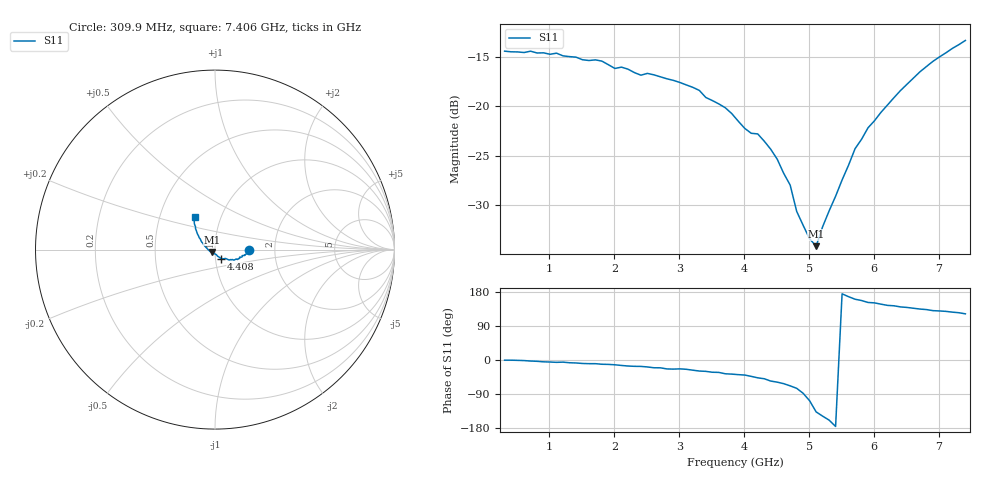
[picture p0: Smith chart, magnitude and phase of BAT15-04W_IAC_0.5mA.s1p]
! Infineon Technologies  Discrete & RF Semiconductors
! BAT15-04W-E6327
! IAC = 0.5 mA
! One-Port S-Parameters
# Hz  S  MA  R  50
!f  S11
!Hz  Mag  Ang
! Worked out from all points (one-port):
!   72 points, 309.9 MHz to 7.406 GHz, reference 50 ohm
!   lowest |S11| = -34.1 dB at 5.107 GHz (marker M1), VSWR 1.04, Z = 48.6 - j1.31 ohm
!   |S11| at or under -10 dB: start of sweep to end of sweep
!   S11 on the Smith chart (normalised r, x): 309.9 MHz: 1.47, -0.00; 4.408 GHz: 1.07, -0.11; 7.406 GHz: 0.75, +0.29
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3.0985e8  0.1893 -0.5
1.10945e9  0.185 -6.2
1.2094e9  0.1793 -5.6
1.8091e9  0.1686 -11.2
2.009e9  0.1549 -12.7
2.10895e9  0.1573 -14.4
2.4088e9  0.1432 -16.9
2.50875e9  0.1463 -18.3
3.0085e9  0.1317 -23.4
3.30835e9  0.1201 -29.1
3.4083e9  0.1106 -29.9
3.70815e9  0.09817 -36.3
3.90805e9  0.08399 -38.6
4.10795e9  0.07298 -43.2
4.2079e9  0.07244 -47.0
4.4078e9  0.06066 -55.5
4.50775e9  0.05407 -58.4
4.70765e9  0.04001 -68.2
4.8076e9  0.0295 -74.7
5.0075e9  0.02144 -107.6
5.10745e9  0.01968 -136.9
5.2074e9  0.02465 -148.1
5.70715e9  0.06103 160.4
5.90705e9  0.0778 151.8
6.30685e9  0.1104 143.0
6.6067e9  0.1386 136.6
6.90655e9  0.1682 130.3
7.4063e9  0.2144 121.8
